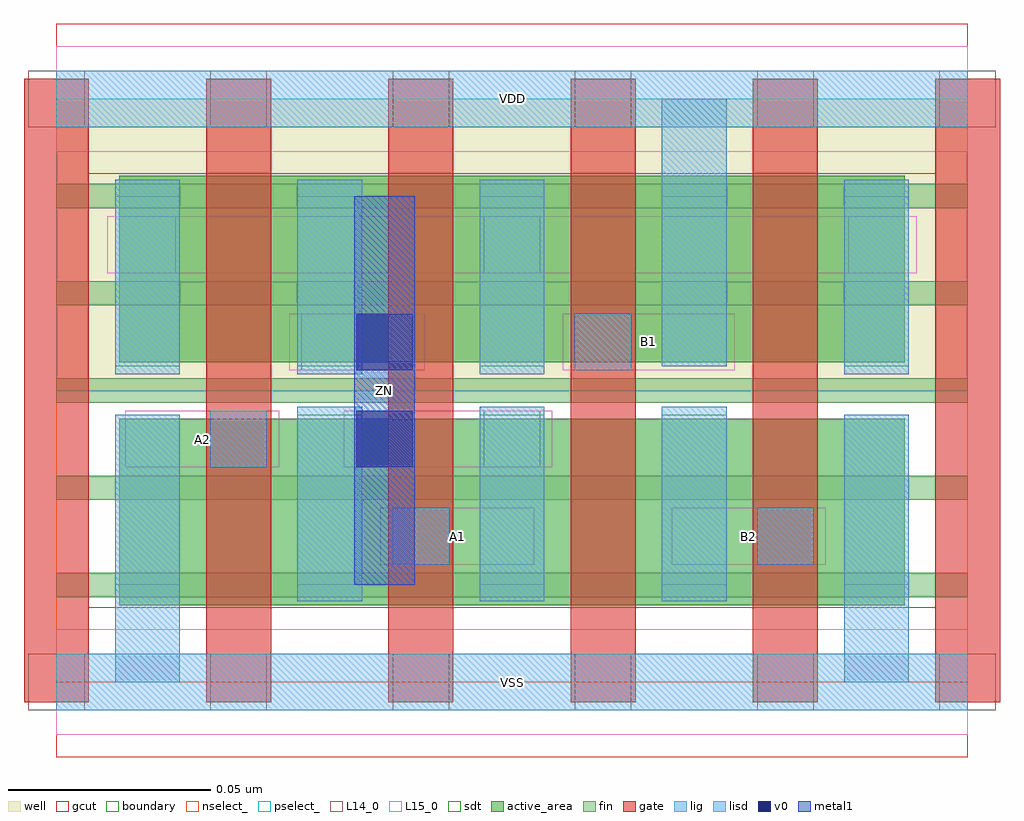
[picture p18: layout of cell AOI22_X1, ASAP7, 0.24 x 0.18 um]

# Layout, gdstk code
import gdstk
lib = gdstk.Library(unit=1e-6, precision=2.5e-10)
def R(c, l, rs):  # rectangles x0, y0, x1, y1
    for r in rs: c.add(gdstk.rectangle(r[:2], r[2:], *l))
def A(c, l, x, y, w, h, nx, ny, dx, dy):  # array of equal rectangles
    R(c, l, [(x+i*dx, y+j*dy, x+i*dx+w, y+j*dy+h) for i in range(nx) for j in range(ny)])
well = (1, 0)
fin = (2, 0)
gate = (7, 0)
gcut = (10, 0)
active_area = (11, 0)
nselect_ = (12, 0)
pselect_ = (13, 0)
L14_0 = (14, 0)
L15_0 = (15, 0)
lig = (16, 0)
lisd = (17, 0)
v0 = (18, 0)
metal1 = (19, 0)
sdt = (88, 0)
boundary = (100, 0)

aoi22_x1 = lib.new_cell('AOI22_X1')
R(aoi22_x1, well, [(0,0.072,0.225,0.144)])
A(aoi22_x1, fin, 0, 0.021, 0.225, 0.006, 1, 5, 0, 0.024)
A(aoi22_x1, gate, -0.008, -0.005, 0.016, 0.154, 6, 1, 0.045, 0)
R(aoi22_x1, gcut, [(0,-0.0185,0.225,0.0185), (-0.008,-0.005,0.008,0.149), (0.217,-0.005,0.233,0.149), (0,0.1255,0.225,0.1625)])
A(aoi22_x1, active_area, 0.0155, 0.019, 0.059, 0.046, 4, 2, 0.045, 0.06)
R(aoi22_x1, nselect_, [(0,0,0.225,0.072)])
R(aoi22_x1, pselect_, [(0,0.072,0.225,0.144)])
A(aoi22_x1, L14_0, -0.007, -0.007, 0.014, 0.014, 6, 2, 0.045, 0.144)
A(aoi22_x1, L14_0, 0.0155, 0.101, 0.014, 0.014, 3, 1, 0.09, 0)
R(aoi22_x1, L14_0, [(0.083,0.029,0.097,0.043), (0.173,0.029,0.187,0.043), (0.038,0.053,0.052,0.067), (0.1055,0.053,0.1195,0.067), (0.0605,0.077,0.0745,0.091), (0.128,0.077,0.142,0.091)])
R(aoi22_x1, L15_0, [(0,-0.013,0.225,0.013), (0.08,0.029,0.118,0.043), (0.152,0.029,0.19,0.043), (0.017,0.053,0.055,0.067), (0.071,0.053,0.1225,0.067), (0.0575,0.077,0.091,0.091), (0.125,0.077,0.1675,0.091), (0.0125,0.101,0.2125,0.115), (0,0.131,0.225,0.157)])
R(aoi22_x1, lig, [(0,-0.007,0.225,0.007), (0.083,0.029,0.097,0.043), (0.173,0.029,0.187,0.043), (0.038,0.053,0.052,0.067), (0.128,0.077,0.142,0.091), (0,0.137,0.225,0.151)])
R(aoi22_x1, lisd, [(0.0145,0,0.0305,0.066), (0.1945,0,0.2105,0.066), (0.0595,0.02,0.0755,0.068), (0.0595,0.02,0.0755,0.068), (0.1045,0.02,0.1205,0.068), (0.1045,0.02,0.1205,0.068), (0.1495,0.02,0.1655,0.068), (0.1495,0.02,0.1655,0.068), (0.0145,0.076,0.0305,0.124), (0.0595,0.076,0.0755,0.124), (0.0595,0.076,0.0755,0.124), (0.1045,0.076,0.1205,0.124), (0.1045,0.076,0.1205,0.124), (0.1945,0.076,0.2105,0.124), (0.1495,0.078,0.1655,0.144), (0.1495,0.078,0.1655,0.144)])
R(aoi22_x1, v0, [(0.074,0.053,0.088,0.067), (0.074,0.077,0.088,0.091)])
R(aoi22_x1, metal1, [(0.0735,0.024,0.0885,0.12)])
R(aoi22_x1, sdt, [(0.0145,0.024,0.0305,0.066), (0.0595,0.024,0.0755,0.066), (0.0595,0.024,0.0755,0.066), (0.1045,0.024,0.1205,0.066), (0.1045,0.024,0.1205,0.066), (0.1495,0.024,0.1655,0.066), (0.1495,0.024,0.1655,0.066), (0.1945,0.024,0.2105,0.066), (0.0145,0.078,0.0305,0.12), (0.0595,0.078,0.0755,0.12), (0.0595,0.078,0.0755,0.12), (0.1045,0.078,0.1205,0.12), (0.1045,0.078,0.1205,0.12), (0.1495,0.078,0.1655,0.12), (0.1495,0.078,0.1655,0.12), (0.1945,0.078,0.2105,0.12)])
R(aoi22_x1, boundary, [(0,0,0.225,0.144)])
aoi22_x1.add(gdstk.Label('VDD', (0.1125,0.144), layer=1, texttype=251))
aoi22_x1.add(gdstk.Label('VSS', (0.1125,0), layer=3, texttype=251))
aoi22_x1.add(gdstk.Label('A2', (0.036,0.06), layer=15, texttype=251))
aoi22_x1.add(gdstk.Label('A1', (0.099,0.036), layer=15, texttype=251))
aoi22_x1.add(gdstk.Label('B1', (0.1462,0.084), layer=15, texttype=251))
aoi22_x1.add(gdstk.Label('B2', (0.171,0.036), layer=15, texttype=251))
aoi22_x1.add(gdstk.Label('VSS', (0.1125,0), layer=15, texttype=251))
aoi22_x1.add(gdstk.Label('VDD', (0.1125,0.144), layer=15, texttype=251))
aoi22_x1.add(gdstk.Label('ZN', (0.081,0.072), layer=19, texttype=251))

lib.write_gds('AOI22_X1.gds')
